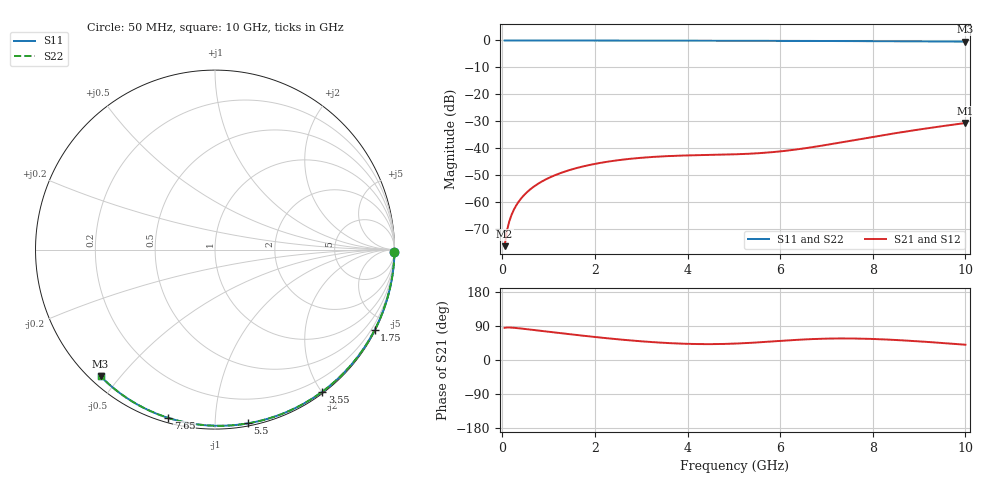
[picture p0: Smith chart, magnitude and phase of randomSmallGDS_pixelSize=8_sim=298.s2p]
! freq	dB(S11)	phase(S11)	dB(S12)	phase(S12)
!  dB(S21)	phase(S21)	dB(S22)	phase(S22)
!S-par simulation data
#  GHz  S  DB  R 50
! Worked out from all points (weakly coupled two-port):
!   200 points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, 50 MHz to 10 GHz, reference 50 ohm
!   highest |S21| = -30.73 dB at 10 GHz (marker M1); lowest = -76.6 dB at 50 MHz (marker M2)
!   lowest |S11| = -0.4 dB at 10 GHz (marker M3), VSWR 39.62, Z = 1.51 - j22.2 ohm
!   |S11| at or under -10 dB: nowhere
!   |S22| runs from -0.4 to 0.0 dB; largest |S21 - S12| = 0
!   S11 on the Smith chart (normalised r, x): 50 MHz: open; 1.75 GHz: 0.04, -4.20; 3.55 GHz: 0.02, -2.01; 5.5 GHz: 0.02, -1.21; 7.65 GHz: 0.02, -0.76; 10 GHz: 0.03, -0.44
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0.05  -0.00 -0.8  -76.55 84.8  -76.55 84.8  -0.00 -0.8
0.1  -0.00 -1.6  -70.81 85.7  -70.81 85.7  -0.00 -1.6
0.15  -0.00 -2.3  -67.36 85.7  -67.36 85.7  -0.00 -2.3
0.2  -0.00 -3.1  -64.89 85.4  -64.89 85.4  -0.00 -3.1
0.25  -0.00 -3.9  -62.97 85.0  -62.97 85.0  -0.00 -3.9
0.35  -0.00 -5.4  -60.08 83.8  -60.08 83.8  -0.00 -5.4
0.5  -0.01 -7.8  -57.02 81.8  -57.02 81.8  -0.01 -7.8
0.7  -0.01 -10.8  -54.16 78.9  -54.16 78.9  -0.01 -10.8
1  -0.02 -15.4  -51.19 74.6  -51.19 74.6  -0.02 -15.4
1.35  -0.03 -20.7  -48.79 69.6  -48.79 69.6  -0.03 -20.7
1.75  -0.03 -26.8  -46.85 64.0  -46.85 64.0  -0.03 -26.8
2.5  -0.05 -37.9  -44.56 54.6  -44.56 54.6  -0.05 -37.9
3.4  -0.07 -50.9  -43.19 45.9  -43.19 45.9  -0.07 -50.8
3.55  -0.07 -53.0  -43.06 44.9  -43.06 44.9  -0.07 -53.0
4.3  -0.09 -63.3  -42.65 42.0  -42.65 42.0  -0.09 -63.3
5.05  -0.11 -73.4  -42.35 43.4  -42.35 43.4  -0.11 -73.4
5.5  -0.13 -79.2  -41.99 46.3  -41.99 46.3  -0.13 -79.2
6.05  -0.15 -86.2  -41.19 50.8  -41.19 50.8  -0.15 -86.2
6.7  -0.18 -94.2  -39.70 55.2  -39.70 55.2  -0.18 -94.2
7.65  -0.24 -105.6  -36.94 56.6  -36.94 56.6  -0.24 -105.5
8.35  -0.29 -113.7  -34.90 53.7  -34.90 53.7  -0.29 -113.6
10  -0.44 -132.1  -30.73 40.3  -30.73 40.3  -0.44 -132.1
